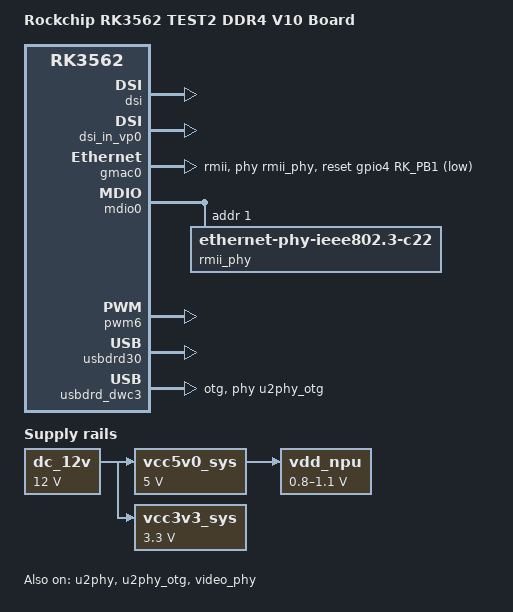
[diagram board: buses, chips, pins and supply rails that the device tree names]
// SPDX-License-Identifier: (GPL-2.0+ OR MIT)
/*
 * Copyright (c) 2022 Rockchip Electronics Co., Ltd.
 *
 */

/dts-v1/;

#include "rk3562.dtsi"
#include "rk3562-evb.dtsi"
#include <dt-bindings/gpio/gpio.h>
#include <dt-bindings/pinctrl/rockchip.h>

/ {
	model = "Rockchip RK3562 TEST2 DDR4 V10 Board";
	compatible = "rockchip,rk3562-test2-ddr4-v10", "rockchip,rk3562";

	dc_12v: dc-12v {
		compatible = "regulator-fixed";
		regulator-name = "dc_12v";
		regulator-always-on;
		regulator-boot-on;
		regulator-min-microvolt = <12000000>;
		regulator-max-microvolt = <12000000>;
	};

	vcc5v0_sys: vcc5v0-sys {
		compatible = "regulator-fixed";
		regulator-name = "vcc5v0_sys";
		regulator-always-on;
		regulator-boot-on;
		regulator-min-microvolt = <5000000>;
		regulator-max-microvolt = <5000000>;
		vin-supply = <&dc_12v>;
	};

	vcc3v3_sys: vcc-sys {
		compatible = "regulator-fixed";
		regulator-name = "vcc3v3_sys";
		regulator-always-on;
		regulator-boot-on;
		regulator-min-microvolt = <3300000>;
		regulator-max-microvolt = <3300000>;
		vin-supply = <&dc_12v>;
	};

	vdd_npu: vdd-npu {
		compatible = "pwm-regulator";
		pwms = <&pwm6 0 5000 1>;
		regulator-name = "vdd_npu";
		regulator-min-microvolt = <800000>;
		regulator-max-microvolt = <1100000>;
		regulator-init-microvolt = <900000>;
		regulator-always-on;
		regulator-boot-on;
		regulator-settling-time-up-us = <250>;
		pwm-supply = <&vcc5v0_sys>;
		status = "okay";
	};
};

&dsi {
	status = "okay";
};

&dsi_in_vp0 {
	status = "okay";
};

&gmac0 {
	/* Use rgmii-rxid mode to disable rx delay inside Soc */
	phy-mode = "rmii";
	clock_in_out = "output";

	snps,reset-gpio = <&gpio4 RK_PB1 GPIO_ACTIVE_LOW>;
	snps,reset-active-low;
	/* Reset time is 20ms, 100ms for rtl8211f */
	snps,reset-delays-us = <0 20000 100000>;

	pinctrl-names = "default";
	pinctrl-0 = <&rgmiim0_miim
		     &rgmiim0_tx_bus2
		     &rgmiim0_rx_bus2
		     &rgmiim0_clk>;

	phy-handle = <&rmii_phy>;
	status = "okay";
};

&mdio0 {
	rmii_phy: phy@1 {
		compatible = "ethernet-phy-ieee802.3-c22";
		reg = <0x1>;
	};
};

&pwm6 {
	status = "okay";
};

&u2phy {
	status = "okay";
};

&u2phy_otg {
	status = "okay";
};

&usbdrd30 {
	status = "okay";
};

&usbdrd_dwc3 {
	status = "okay";
	dr_mode = "otg";
	extcon = <&u2phy>;
	maximum-speed = "high-speed";
	phys = <&u2phy_otg>;
	phy-names = "usb2-phy";
	snps,dis_u2_susphy_quirk;
	snps,usb2-lpm-disable;
};

&video_phy {
	status = "okay";
};
